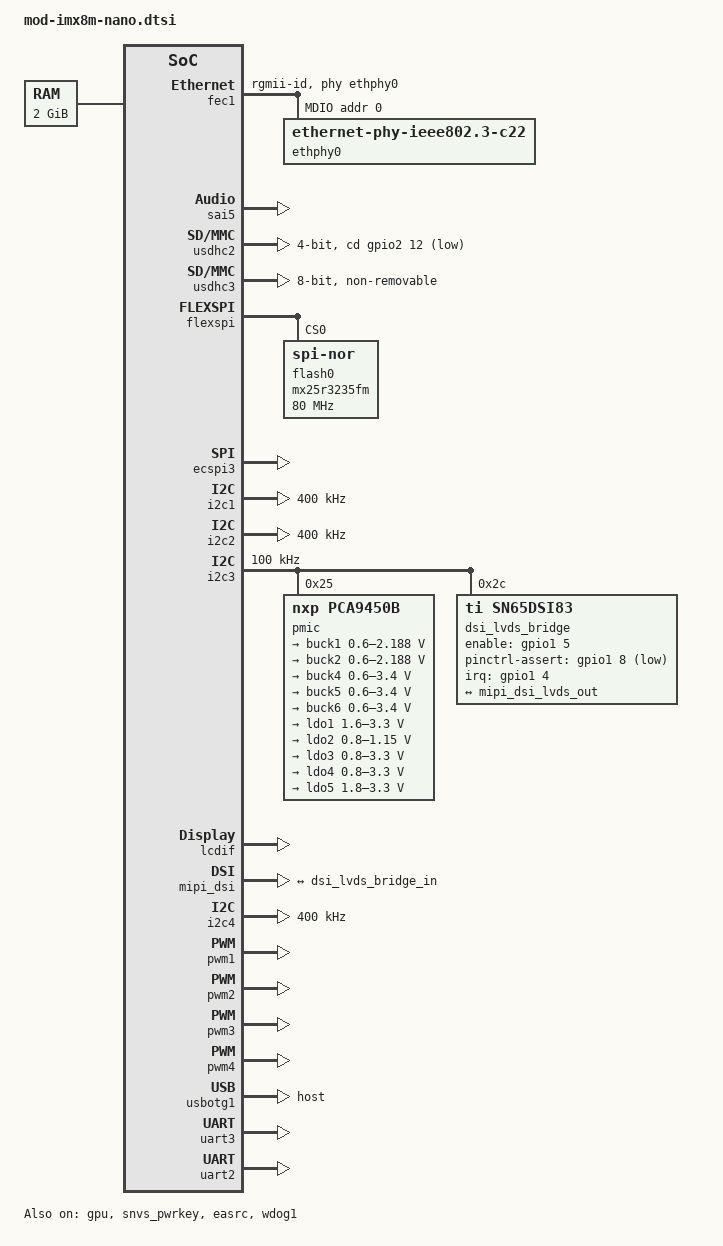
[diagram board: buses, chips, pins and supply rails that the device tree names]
// SPDX-License-Identifier: (GPL-2.0+ OR MIT)
/*
 * Copyright 2019 NXP
 */

/ {
	memory@40000000 {
		device_type = "memory";
		reg = <0x0 0x40000000 0 0x80000000>;
	};
};

&A53_0 {
	cpu-supply = <&buck2>;
};

&gpu {
	status = "okay";
};

&fec1 {
	pinctrl-names = "default";
	pinctrl-0 = <&pinctrl_fec1>;
	phy-mode = "rgmii-id";
	phy-handle = <&ethphy0>;
	status = "okay";

	mdio {
		#address-cells = <1>;
		#size-cells = <0>;

		ethphy0: ethernet-phy@0 {
			compatible = "ethernet-phy-ieee802.3-c22";
			reg = <0>;
		};
	};
};

&snvs_pwrkey {
	status = "okay";
};

&easrc {
  fsl,asrc-rate = <48000>;
  status = "okay";
};

&sai5 {
  pinctrl-names = "default";
  pinctrl-0 = <&pinctrl_sai5>;
  assigned-clocks = <&clk IMX8MN_CLK_SAI5>;
  assigned-clock-parents = <&clk IMX8MN_AUDIO_PLL1_OUT>;
  assigned-clock-rates = <12288000>;
  clocks = <&clk IMX8MN_CLK_SAI5_IPG>, <&clk IMX8MN_CLK_DUMMY>,
         <&clk IMX8MN_CLK_SAI5_ROOT>, <&clk IMX8MN_CLK_DUMMY>,
         <&clk IMX8MN_CLK_DUMMY>, <&clk IMX8MN_AUDIO_PLL1_OUT>,
         <&clk IMX8MN_AUDIO_PLL2_OUT>;
  clock-names = "bus", "mclk0", "mclk1", "mclk2", "mclk3", "pll8k", "pll11k";
  status = "okay";
};

&usdhc1 {
  pinctrl-names = "default", "state_100mhz", "state_200mhz";
  pinctrl-0 = <&pinctrl_usdhc1>, <&pinctrl_usdhc1_gpio>;
  pinctrl-1 = <&pinctrl_usdhc1_100mhz>, <&pinctrl_usdhc1_gpio>;
  pinctrl-2 = <&pinctrl_usdhc1_200mhz>, <&pinctrl_usdhc1_gpio>;
  cd-gpios = <&gpio1 6 GPIO_ACTIVE_LOW>;
  no-1-8-v;
  bus-width = <4>;
  status = "disabled";
};

&usdhc2 {
	assigned-clocks = <&clk IMX8MN_CLK_USDHC2>;
	assigned-clock-rates = <200000000>;
	pinctrl-names = "default", "state_100mhz", "state_200mhz";
	pinctrl-0 = <&pinctrl_usdhc2>, <&pinctrl_usdhc2_gpio>;
	pinctrl-1 = <&pinctrl_usdhc2_100mhz>, <&pinctrl_usdhc2_gpio>;
	pinctrl-2 = <&pinctrl_usdhc2_200mhz>, <&pinctrl_usdhc2_gpio>;
	cd-gpios = <&gpio2 12 GPIO_ACTIVE_LOW>;
    no-1-8-v;
	bus-width = <4>;
	status = "okay";
};

&usdhc3 {
	assigned-clocks = <&clk IMX8MN_CLK_USDHC3_ROOT>;
	assigned-clock-rates = <400000000>;
	pinctrl-names = "default", "state_100mhz", "state_200mhz";
	pinctrl-0 = <&pinctrl_usdhc3>;
	pinctrl-1 = <&pinctrl_usdhc3_100mhz>;
    pinctrl-2 = <&pinctrl_usdhc3_200mhz>;
    fsl,reset-gpio = <&gpio3 16 GPIO_ACTIVE_LOW>;
	bus-width = <8>;
	non-removable;
	status = "okay";
};

&wdog1 {
	pinctrl-names = "default";
	pinctrl-0 = <&pinctrl_wdog>;
	fsl,ext-reset-output;
	status = "okay";
};

&flexspi {
	pinctrl-names = "default";
	pinctrl-0 = <&pinctrl_flexspi0>;
	status = "okay";

	flash0: mx25r3235fm@0 {
		reg = <0>;
		#address-cells = <1>;
		#size-cells = <1>;
		compatible = "jedec,spi-nor";
		spi-max-frequency = <80000000>;
		spi-tx-bus-width = <4>;
		spi-rx-bus-width = <4>;
	};
};

&ecspi1 {
  #address-cells = <1>;
  #size-cells = <0>;
  fsl,spi-num-chipselects = <2>;
  pinctrl-names = "default";
  pinctrl-0 = <&pinctrl_ecspi1 &pinctrl_ecspi1_cs>;
  cs-gpios = <&gpio5 9 GPIO_ACTIVE_LOW>, <&gpio1 0 GPIO_ACTIVE_LOW>;
  status = "disabled";
};

&ecspi2 {
  #address-cells = <1>;
  #size-cells = <0>;
  fsl,spi-num-chipselects = <2>;
  pinctrl-names = "default";
  pinctrl-0 = <&pinctrl_ecspi2 &pinctrl_ecspi2_cs>;
  cs-gpios = <&gpio5 13 GPIO_ACTIVE_LOW>, <&gpio1 1 GPIO_ACTIVE_LOW>;
  status = "disabled";
};

&ecspi3 {
  #address-cells = <1>;
  #size-cells = <0>;
  fsl,spi-num-chipselects = <1>;
  pinctrl-names = "default";
  pinctrl-0 = <&pinctrl_ecspi3 &pinctrl_ecspi3_cs>;
  cs-gpios = <&gpio5 25 GPIO_ACTIVE_LOW>;
  status = "okay";
};

&i2c1 {
	clock-frequency = <400000>;
	pinctrl-names = "default";
	pinctrl-0 = <&pinctrl_i2c1>;
	status = "okay";
};

&i2c2 {
	clock-frequency = <400000>;
	pinctrl-names = "default";
	pinctrl-0 = <&pinctrl_i2c2>;
	status = "okay";
};

&i2c3 {
	clock-frequency = <100000>;
	pinctrl-names = "default";
	pinctrl-0 = <&pinctrl_i2c3>;
	status = "okay";

	pmic: pmic@25 {
		reg = <0x25>;
		compatible = "nxp,pca9450b";

		regulators {
			buck1: BUCK1{
				regulator-name = "BUCK1";
				regulator-min-microvolt = <600000>;
				regulator-max-microvolt = <2187500>;
				regulator-boot-on;
				regulator-always-on;
				regulator-ramp-delay = <3125>;
				nxp,dvs-run-voltage = <950000>;
				nxp,dvs-standby-voltage = <750000>;
			};

			buck2: BUCK2 {
				regulator-name = "BUCK2";
				regulator-min-microvolt = <600000>;
				regulator-max-microvolt = <2187500>;
				regulator-boot-on;
				regulator-always-on;
				regulator-ramp-delay = <3125>;
			};

			buck4: BUCK4{
				regulator-name = "BUCK4";
				regulator-min-microvolt = <600000>;
				regulator-max-microvolt = <3400000>;
				regulator-boot-on;
				regulator-always-on;
			};

			buck5: BUCK5{
				regulator-name = "BUCK5";
				regulator-min-microvolt = <600000>;
				regulator-max-microvolt = <3400000>;
				regulator-boot-on;
				regulator-always-on;
			};

			buck6: BUCK6 {
				regulator-name = "BUCK6";
				regulator-min-microvolt = <600000>;
				regulator-max-microvolt = <3400000>;
				regulator-boot-on;
				regulator-always-on;
			};

			ldo1: LDO1 {
				regulator-name = "LDO1";
				regulator-min-microvolt = <1600000>;
				regulator-max-microvolt = <3300000>;
				regulator-boot-on;
				regulator-always-on;
			};

			ldo2: LDO2 {
				regulator-name = "LDO2";
				regulator-min-microvolt = <800000>;
				regulator-max-microvolt = <1150000>;
				regulator-boot-on;
				regulator-always-on;
			};

			ldo3: LDO3 {
				regulator-name = "LDO3";
				regulator-min-microvolt = <800000>;
				regulator-max-microvolt = <3300000>;
				regulator-boot-on;
				regulator-always-on;
			};

			ldo4: LDO4 {
				regulator-name = "LDO4";
				regulator-min-microvolt = <800000>;
				regulator-max-microvolt = <3300000>;
				regulator-boot-on;
				regulator-always-on;
			};

			ldo5: LDO5 {
				regulator-name = "LDO5";
				regulator-min-microvolt = <1800000>;
				regulator-max-microvolt = <3300000>;
				regulator-boot-on;
				regulator-always-on;
			};
		};
	};
    
    dsi_lvds_bridge: sn65dsi84@2c {
      compatible = "ti,sn65dsi83";
      reg = <0x2c>;
      ti,dsi-lanes = <4>;
      ti,lvds-format = <2>;
      ti,lvds-bpp = <24>;
      ti,width-mm = <217>;
      ti,height,mm = <136>;
      enable-gpios = <&gpio1 5 GPIO_ACTIVE_HIGH>;
      interrupt-parent = <&gpio1>;
      interrupts = <4 IRQ_TYPE_LEVEL_HIGH>;
      pinctrl-names = "default";
      pinctrl-0 = <&pinctrl_lvds>;
      pinctrl-assert-gpios = <&gpio1 8 GPIO_ACTIVE_LOW>;
      status = "okay";

      display-timings {
        native-mode = <&lvds_timing1>;

        lvds_timing0: lvds_timing@0 {
          clock-frequency = <68900000>;
          hactive = <1280>;
          vactive = <800>;
          hfront-porch = <120>;
          hback-porch = <1>;
          hsync-len = <8>;
          vback-porch = <10>;
          vfront-porch = <1>;
          vsync-len = <4>;
          hsync-active = <1>;
          vsync-active = <1>;
          de-active = <1>;
          pixelclk-active = <0>;
        };

        lvds_timing1: lvds_timing@1 {
          clock-frequency = <25000000>;
          hactive = <640>;
          vactive = <480>;
          hfront-porch = <1>;
          hback-porch = <7>;
          hsync-len = <60>;
          vback-porch = <20>;
          vfront-porch = <20>;
          vsync-len = <10>;
          hsync-active = <0>;
          vsync-active = <0>;
          de-active = <0>;
          pixelclk-active = <0>;
        };

        lvds_timing2: lvds_timing@2 {
          clock-frequency = <65000000>;
          hactive = <1024>;
          vactive = <768>;
          hfront-porch = <24>;
          hback-porch = <160>;
          hsync-len = <136>;
          vfront-porch = <3>;
          vback-porch = <29>;
          vsync-len = <6>;
        };
      };
      
      port {
        dsi_lvds_bridge_in: endpoint {
          remote-endpoint = <&mipi_dsi_lvds_out>;
        };
      };
    };          
};

&lcdif {
  status = "okay";
};

&mipi_dsi {
  status = "okay";

  port@1 {
    mipi_dsi_lvds_out: endpoint {
      remote-endpoint = <&dsi_lvds_bridge_in>;
      attach-bridge;
    };
  };
};

&i2c4 {
    clock-frequency = <400000>;
    pinctrl-names = "default";
    pinctrl-0 = <&pinctrl_i2c4>;
    status = "okay";
};

&pwm1 {
  pinctrl-names = "default";
  pinctrl-0 = <&pinctrl_pwm1>;
  status = "okay";
};

&pwm2 {
  pinctrl-names = "default";
  pinctrl-0 = <&pinctrl_pwm2>;
  status = "okay";
};

&pwm3 {
  pinctrl-names = "default";
  pinctrl-0 = <&pinctrl_pwm3>;
  status = "okay";
};

&pwm4 {
  pinctrl-names = "default";
  pinctrl-0 = <&pinctrl_pwm4>;
  status = "okay";
};

&usbotg1 {
  pinctrl-names = "default";
  pinctrl-0 = <&pinctrl_usbotg1>;
  over-current-active-low;
  power-active-high;
  dr_mode = "host";
  status = "okay";
};

&uart3 {
  pinctrl-names = "default";
  pinctrl-0 = <&pinctrl_uart3>;
  status = "okay";
};

&uart2 {
  pinctrl-names = "default";
  pinctrl-0 = <&pinctrl_uart2>;
  assigned-clocks = <&clk IMX8MN_CLK_UART2>;
  assigned-clock-parents = <&clk IMX8MN_SYS_PLL1_80M>;
  status = "okay";
};

&iomuxc {
	pinctrl-names = "default";
    pinctrl-0 = <&pinctrl_hog>;

    pinctrl_hog: hoggrp {
        fsl,pins = <
            MX8MN_IOMUXC_GPIO1_IO07_GPIO1_IO7       0x16
            MX8MN_IOMUXC_GPIO1_IO08_GPIO1_IO8       0x16
        >;
    };

    pinctrl_uart3: uart3grp {
        fsl,pins = <
            MX8MN_IOMUXC_UART3_RXD_UART3_DCE_RX     0x116
            MX8MN_IOMUXC_UART3_TXD_UART3_DCE_TX     0x116
        >;
    }; 

    pinctrl_uart2: uart2grp {
        fsl,pins = <
            MX8MN_IOMUXC_SAI3_TXC_UART2_DCE_TX          0x140
            MX8MN_IOMUXC_SAI3_TXFS_UART2_DCE_RX         0x140
            MX8MN_IOMUXC_SAI3_RXC_UART2_DCE_CTS_B       0x140
            MX8MN_IOMUXC_SAI3_RXD_UART2_DCE_RTS_B       0x140
        >;
    };             

	pinctrl_fec1: fec1grp {
		fsl,pins = <
			MX8MN_IOMUXC_ENET_MDC_ENET1_MDC			0x3
			MX8MN_IOMUXC_ENET_MDIO_ENET1_MDIO		0x3
			MX8MN_IOMUXC_ENET_TD3_ENET1_RGMII_TD3		0x1f
			MX8MN_IOMUXC_ENET_TD2_ENET1_RGMII_TD2		0x1f
			MX8MN_IOMUXC_ENET_TD1_ENET1_RGMII_TD1		0x1f
			MX8MN_IOMUXC_ENET_TD0_ENET1_RGMII_TD0		0x1f
			MX8MN_IOMUXC_ENET_RD3_ENET1_RGMII_RD3		0x91
			MX8MN_IOMUXC_ENET_RD2_ENET1_RGMII_RD2		0x91
			MX8MN_IOMUXC_ENET_RD1_ENET1_RGMII_RD1		0x91
			MX8MN_IOMUXC_ENET_RD0_ENET1_RGMII_RD0		0x91
			MX8MN_IOMUXC_ENET_TXC_ENET1_RGMII_TXC		0x1f
			MX8MN_IOMUXC_ENET_RXC_ENET1_RGMII_RXC		0x91
			MX8MN_IOMUXC_ENET_RX_CTL_ENET1_RGMII_RX_CTL	0x91
			MX8MN_IOMUXC_ENET_TX_CTL_ENET1_RGMII_TX_CTL	0x1f
		>;
	};

	pinctrl_flexspi0: flexspi0grp {
		fsl,pins = <
			MX8MN_IOMUXC_NAND_ALE_QSPI_A_SCLK               0x1c2
			MX8MN_IOMUXC_NAND_CE0_B_QSPI_A_SS0_B            0x82
			MX8MN_IOMUXC_NAND_DATA00_QSPI_A_DATA0           0x82
			MX8MN_IOMUXC_NAND_DATA01_QSPI_A_DATA1           0x82
			MX8MN_IOMUXC_NAND_DATA02_QSPI_A_DATA2           0x82
			MX8MN_IOMUXC_NAND_DATA03_QSPI_A_DATA3           0x82
		>;
	};
  
    pinctrl_ecspi1: ecspi1grp {
        fsl,pins = <
            MX8MN_IOMUXC_ECSPI1_MISO_ECSPI1_MISO    0x82
            MX8MN_IOMUXC_ECSPI1_MOSI_ECSPI1_MOSI    0x82
            MX8MN_IOMUXC_ECSPI1_SCLK_ECSPI1_SCLK    0x82
        >;
    };
  
    pinctrl_ecspi1_cs: ecspi1_csgrp {
        fsl,pins = <
            MX8MN_IOMUXC_ECSPI1_SS0_GPIO5_IO9       0x40000
            MX8MN_IOMUXC_GPIO1_IO00_GPIO1_IO0       0x40000
        >;
    }; 

    pinctrl_ecspi2: ecspi2grp {
        fsl,pins = <
            MX8MN_IOMUXC_ECSPI2_MISO_ECSPI2_MISO    0x82
            MX8MN_IOMUXC_ECSPI2_MOSI_ECSPI2_MOSI    0x82
            MX8MN_IOMUXC_ECSPI2_SCLK_ECSPI2_SCLK    0x82
        >;
    };
  
    pinctrl_ecspi2_cs: ecspi2_csgrp {
        fsl,pins = <
            MX8MN_IOMUXC_ECSPI2_SS0_GPIO5_IO13      0x40000
            MX8MN_IOMUXC_GPIO1_IO01_GPIO1_IO1       0x40000
        >;
    };
 
    pinctrl_ecspi3: ecspi3grp {
        fsl,pins = <
            MX8MN_IOMUXC_UART1_TXD_ECSPI3_MOSI      0x82
            MX8MN_IOMUXC_UART2_RXD_ECSPI3_MISO      0x82
            MX8MN_IOMUXC_UART1_RXD_ECSPI3_SCLK      0x82
        >;
    };

    pinctrl_ecspi3_cs: ecspi3_csgrp {
        fsl,pins = <
            MX8MN_IOMUXC_UART2_TXD_GPIO5_IO25       0x40000
        >;
    };

    pinctrl_sai5: sai5grp {
        fsl,pins = <
            MX8MN_IOMUXC_SAI5_RXD0_SAI5_RX_DATA0    0xd6
            MX8MN_IOMUXC_SAI5_RXD1_SAI5_TX_SYNC     0xd6
            MX8MN_IOMUXC_SAI5_RXD2_SAI5_TX_BCLK     0xd6
            MX8MN_IOMUXC_SAI5_RXD3_SAI5_TX_DATA0    0xd6
            MX8MN_IOMUXC_SAI5_RXFS_SAI5_RX_SYNC     0xd6
        >;
    }; 

    pinctrl_uartirq: uartirqgrp {
        fsl,pins = <
            MX8MN_IOMUXC_SD1_DATA5_GPIO2_IO7       0x19
        >;
    };

	pinctrl_i2c1: i2c1grp {
		fsl,pins = <
			MX8MN_IOMUXC_I2C1_SCL_I2C1_SCL			0x400001c3
			MX8MN_IOMUXC_I2C1_SDA_I2C1_SDA			0x400001c3
		>;
	};

	pinctrl_i2c2: i2c2grp {
		fsl,pins = <
			MX8MN_IOMUXC_I2C2_SCL_I2C2_SCL			0x400001c3
			MX8MN_IOMUXC_I2C2_SDA_I2C2_SDA			0x400001c3
		>;
	};

	pinctrl_i2c3: i2c3grp {
		fsl,pins = <
			MX8MN_IOMUXC_I2C3_SCL_I2C3_SCL			0x400001c3
			MX8MN_IOMUXC_I2C3_SDA_I2C3_SDA			0x400001c3
		>;
	};

	pinctrl_i2c4: i2c4grp {
		fsl,pins = <
			MX8MN_IOMUXC_I2C4_SCL_I2C4_SCL			0x400001c3
			MX8MN_IOMUXC_I2C4_SDA_I2C4_SDA			0x400001c3
		>;
	};

	pinctrl_pcie0: pcie0grp {
		fsl,pins = <
			MX8MN_IOMUXC_SD1_RESET_B_GPIO2_IO10	0x41
			MX8MN_IOMUXC_SD1_STROBE_GPIO2_IO11	0x41
		>;
	};

    pinctrl_usdhc1_gpio: usdhc1grpgpio {
        fsl,pins = <
            MX8MN_IOMUXC_GPIO1_IO06_GPIO1_IO6   0x1c4
        >;
    };

    pinctrl_usdhc1: usdhc1grp {
        fsl,pins = <
            MX8MN_IOMUXC_SD1_CLK_USDHC1_CLK     0x190
            MX8MN_IOMUXC_SD1_CMD_USDHC1_CMD     0x1d0
            MX8MN_IOMUXC_SD1_DATA0_USDHC1_DATA0 0x1d0
            MX8MN_IOMUXC_SD1_DATA1_USDHC1_DATA1 0x1d0
            MX8MN_IOMUXC_SD1_DATA2_USDHC1_DATA2 0x1d0
            MX8MN_IOMUXC_SD1_DATA3_USDHC1_DATA3 0x1d0
        >;
    };

    pinctrl_usdhc1_100mhz: usdhc1grp100mhz {
        fsl,pins = <
            MX8MN_IOMUXC_SD1_CLK_USDHC1_CLK     0x194
            MX8MN_IOMUXC_SD1_CMD_USDHC1_CMD     0x1d4
            MX8MN_IOMUXC_SD1_DATA0_USDHC1_DATA0 0x1d4
            MX8MN_IOMUXC_SD1_DATA1_USDHC1_DATA1 0x1d4
            MX8MN_IOMUXC_SD1_DATA2_USDHC1_DATA2 0x1d4
            MX8MN_IOMUXC_SD1_DATA3_USDHC1_DATA3 0x1d4
        >;
    };

    pinctrl_usdhc1_200mhz: usdhc2grp200mhz {
        fsl,pins = <
            MX8MN_IOMUXC_SD1_CLK_USDHC1_CLK     0x196
            MX8MN_IOMUXC_SD1_CMD_USDHC1_CMD     0x1d6
            MX8MN_IOMUXC_SD1_DATA0_USDHC1_DATA0 0x1d6
            MX8MN_IOMUXC_SD1_DATA1_USDHC1_DATA1 0x1d6
            MX8MN_IOMUXC_SD1_DATA2_USDHC1_DATA2 0x1d6
            MX8MN_IOMUXC_SD1_DATA3_USDHC1_DATA3 0x1d6
        >;
    };

	pinctrl_usdhc2_gpio: usdhc2grpgpio {
		fsl,pins = <
			MX8MN_IOMUXC_SD2_CD_B_GPIO2_IO12	0x1c4
		>;
	};

	pinctrl_usdhc2: usdhc2grp {
		fsl,pins = <
			MX8MN_IOMUXC_SD2_CLK_USDHC2_CLK		0x190
			MX8MN_IOMUXC_SD2_CMD_USDHC2_CMD		0x1d0
			MX8MN_IOMUXC_SD2_DATA0_USDHC2_DATA0	0x1d0
			MX8MN_IOMUXC_SD2_DATA1_USDHC2_DATA1	0x1d0
			MX8MN_IOMUXC_SD2_DATA2_USDHC2_DATA2	0x1d0
			MX8MN_IOMUXC_SD2_DATA3_USDHC2_DATA3	0x1d0
		>;
	};

	pinctrl_usdhc2_100mhz: usdhc2grp100mhz {
		fsl,pins = <
			MX8MN_IOMUXC_SD2_CLK_USDHC2_CLK		0x194
			MX8MN_IOMUXC_SD2_CMD_USDHC2_CMD		0x1d4
			MX8MN_IOMUXC_SD2_DATA0_USDHC2_DATA0	0x1d4
			MX8MN_IOMUXC_SD2_DATA1_USDHC2_DATA1	0x1d4
			MX8MN_IOMUXC_SD2_DATA2_USDHC2_DATA2	0x1d4
			MX8MN_IOMUXC_SD2_DATA3_USDHC2_DATA3	0x1d4
		>;
	};

	pinctrl_usdhc2_200mhz: usdhc2grp200mhz {
		fsl,pins = <
			MX8MN_IOMUXC_SD2_CLK_USDHC2_CLK		0x196
			MX8MN_IOMUXC_SD2_CMD_USDHC2_CMD		0x1d6
			MX8MN_IOMUXC_SD2_DATA0_USDHC2_DATA0	0x1d6
			MX8MN_IOMUXC_SD2_DATA1_USDHC2_DATA1	0x1d6
			MX8MN_IOMUXC_SD2_DATA2_USDHC2_DATA2	0x1d6
			MX8MN_IOMUXC_SD2_DATA3_USDHC2_DATA3	0x1d6
		>;
	};

	pinctrl_usdhc3: usdhc3grp {
		fsl,pins = <
			MX8MN_IOMUXC_NAND_WE_B_USDHC3_CLK		0x190
			MX8MN_IOMUXC_NAND_WP_B_USDHC3_CMD		0x1d0
			MX8MN_IOMUXC_NAND_DATA04_USDHC3_DATA0		0x1d0
			MX8MN_IOMUXC_NAND_DATA05_USDHC3_DATA1		0x1d0
			MX8MN_IOMUXC_NAND_DATA06_USDHC3_DATA2		0x1d0
			MX8MN_IOMUXC_NAND_DATA07_USDHC3_DATA3		0x1d0
			MX8MN_IOMUXC_NAND_RE_B_USDHC3_DATA4		0x1d0
			MX8MN_IOMUXC_NAND_CE2_B_USDHC3_DATA5		0x1d0
			MX8MN_IOMUXC_NAND_CE3_B_USDHC3_DATA6		0x1d0
			MX8MN_IOMUXC_NAND_CLE_USDHC3_DATA7		0x1d0
			MX8MN_IOMUXC_NAND_CE1_B_USDHC3_STROBE 		0x190
            MX8MN_IOMUXC_NAND_READY_B_GPIO3_IO16 0x16
		>;
	};

	pinctrl_usdhc3_100mhz: usdhc3grp100mhz {
		fsl,pins = <
			MX8MN_IOMUXC_NAND_WE_B_USDHC3_CLK		0x194
			MX8MN_IOMUXC_NAND_WP_B_USDHC3_CMD		0x1d4
			MX8MN_IOMUXC_NAND_DATA04_USDHC3_DATA0		0x1d4
			MX8MN_IOMUXC_NAND_DATA05_USDHC3_DATA1		0x1d4
			MX8MN_IOMUXC_NAND_DATA06_USDHC3_DATA2		0x1d4
			MX8MN_IOMUXC_NAND_DATA07_USDHC3_DATA3		0x1d4
			MX8MN_IOMUXC_NAND_RE_B_USDHC3_DATA4		0x1d4
			MX8MN_IOMUXC_NAND_CE2_B_USDHC3_DATA5		0x1d4
			MX8MN_IOMUXC_NAND_CE3_B_USDHC3_DATA6		0x1d4
			MX8MN_IOMUXC_NAND_CLE_USDHC3_DATA7		0x1d4
			MX8MN_IOMUXC_NAND_CE1_B_USDHC3_STROBE 		0x194
            MX8MN_IOMUXC_NAND_READY_B_GPIO3_IO16 0x16
		>;
	};

	pinctrl_usdhc3_200mhz: usdhc3grp200mhz {
		fsl,pins = <
			MX8MN_IOMUXC_NAND_WE_B_USDHC3_CLK		0x196
			MX8MN_IOMUXC_NAND_WP_B_USDHC3_CMD		0x1d6
			MX8MN_IOMUXC_NAND_DATA04_USDHC3_DATA0		0x1d6
			MX8MN_IOMUXC_NAND_DATA05_USDHC3_DATA1		0x1d6
			MX8MN_IOMUXC_NAND_DATA06_USDHC3_DATA2		0x1d6
			MX8MN_IOMUXC_NAND_DATA07_USDHC3_DATA3		0x1d6
			MX8MN_IOMUXC_NAND_RE_B_USDHC3_DATA4		0x1d6
			MX8MN_IOMUXC_NAND_CE2_B_USDHC3_DATA5		0x1d6
			MX8MN_IOMUXC_NAND_CE3_B_USDHC3_DATA6		0x1d6
			MX8MN_IOMUXC_NAND_CLE_USDHC3_DATA7		0x1d6
			MX8MN_IOMUXC_NAND_CE1_B_USDHC3_STROBE 		0x1d6
            MX8MN_IOMUXC_NAND_READY_B_GPIO3_IO16 0x16
		>;
	};

    pinctrl_usbotg1: usbotg1grp {
        fsl,pins = <
            MX8MN_IOMUXC_GPIO1_IO12_USB1_OTG_PWR    0x16
            MX8MN_IOMUXC_GPIO1_IO13_USB1_OTG_OC     0x16
        >;
    };

	pinctrl_wdog: wdoggrp {
		fsl,pins = <
			MX8MN_IOMUXC_GPIO1_IO02_WDOG1_WDOG_B	0xc6
		>;
	};

    pinctrl_pwm1: pmw1grp {
        fsl,pins = <
            MX8MN_IOMUXC_SPDIF_EXT_CLK_PWM1_OUT          0x16
        >;
    };

    pinctrl_pwm2: pmw2grp {
        fsl,pins = <
            MX8MN_IOMUXC_SPDIF_RX_PWM2_OUT          0x16
        >;
    };

    pinctrl_pwm3: pmw3grp {
        fsl,pins = <
            MX8MN_IOMUXC_SPDIF_TX_PWM3_OUT          0x16
        >;
    };
    
    pinctrl_pwm4: pmw4grp {
        fsl,pins = <
            MX8MN_IOMUXC_SAI3_MCLK_PWM4_OUT          0x16
        >;
    };

    pinctrl_lvds: lvdsgrp {
        fsl,pins = <
            /* Enable */
            MX8MN_IOMUXC_GPIO1_IO05_GPIO1_IO5       0x19
            /* Interrupt */
            MX8MN_IOMUXC_GPIO1_IO04_GPIO1_IO4       0x19
        >;
    };    
};
